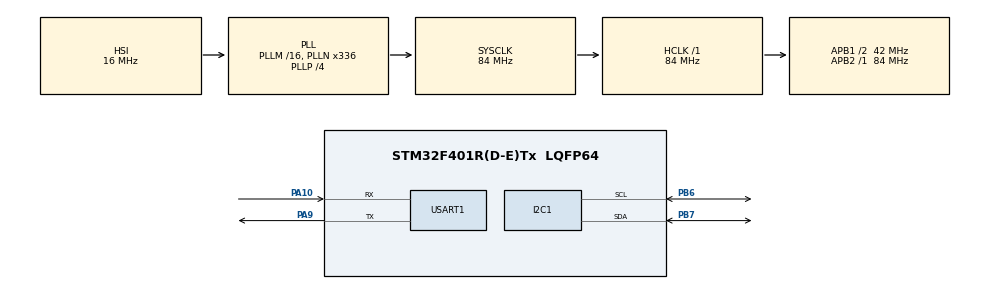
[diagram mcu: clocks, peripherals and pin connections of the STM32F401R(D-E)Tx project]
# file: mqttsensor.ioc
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Mcu.Family=STM32F4
Mcu.Name=STM32F401R(D-E)Tx
Mcu.Package=LQFP64
NVIC.PriorityGroup=NVIC_PRIORITYGROUP_4
NVIC.USART1_IRQn=true\:0\:0\:false\:false\:true\:true\:true\:true
PA10.Mode=Asynchronous
PA10.Signal=USART1_RX
PA13.Mode=Serial_Wire
PA13.Signal=SYS_JTMS-SWDIO
PA14.Mode=Serial_Wire
PA14.Signal=SYS_JTCK-SWCLK
PA9.Mode=Asynchronous
PA9.Signal=USART1_TX
PB6.Mode=I2C
PB6.Signal=I2C1_SCL
PB7.Mode=I2C
PB7.Signal=I2C1_SDA
PH0\ -\ OSC_IN.Mode=HSE-External-Clock-Source
PH0\ -\ OSC_IN.Signal=RCC_OSC_IN
PH1\ -\ OSC_OUT.Mode=HSE-External-Clock-Source
PH1\ -\ OSC_OUT.Signal=RCC_OSC_OUT
ProjectManager.HeapSize=0x200
ProjectManager.StackSize=0x400
ProjectManager.TargetToolchain=MDK-ARM V5.32
RCC.48MHZClocksFreq_Value=42000000
RCC.AHBFreq_Value=84000000
RCC.APB1CLKDivider=RCC_HCLK_DIV2
RCC.APB1Freq_Value=42000000
RCC.APB1TimFreq_Value=84000000
RCC.APB2Freq_Value=84000000
RCC.APB2TimFreq_Value=84000000
RCC.CortexFreq_Value=84000000
RCC.HCLKFreq_Value=84000000
RCC.HSE_VALUE=25000000
RCC.HSI_VALUE=16000000
RCC.LSE_VALUE=32768
RCC.PLLM=25
RCC.PLLN=168
RCC.PLLSourceVirtual=RCC_PLLSOURCE_HSE
RCC.SYSCLKFreq_VALUE=84000000
RCC.SYSCLKSource=RCC_SYSCLKSOURCE_PLLCLK
RCC.VCOOutputFreq_Value=168000000
USART1.VirtualMode=VM_ASYNC
board=custom

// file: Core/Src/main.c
/* USER CODE BEGIN Header */
/**
  ******************************************************************************
  * @file           : main.c
  * @brief          : Main program body
  ******************************************************************************
  * @attention
  *
  * Copyright (c) 2026 STMicroelectronics.
  * All rights reserved.
  *
  * This software is licensed under terms that can be found in the LICENSE file
  * in the root directory of this software component.
  * If no LICENSE file comes with this software, it is provided AS-IS.
  *
  ******************************************************************************
  */
/* USER CODE END Header */
#include "main.h"
#include "bme280.h"
#include <stdio.h>
#include <stdint.h>
#include "ESPLib.h"

I2C_HandleTypeDef hi2c1;

struct bme280_dev dev;
struct bme280_data comp_data;
struct bme280_settings settings;

/* Status */
int8_t rslt = BME280_OK;
volatile uint8_t sensor_ready = 0;
volatile uint8_t sensor_error = 0;

/* Measurements */
float temperature = 0.0f;  /* Celsius */
float pressure    = 0.0f;  /* hPa */
float humidity    = 0.0f;  /* % RH */

UART_HandleTypeDef huart1;

void SystemClock_Config(void);
static void MX_GPIO_Init(void);
static void MX_I2C1_Init(void);
static void MX_USART1_UART_Init(void);
int8_t user_i2c_read(uint8_t reg_addr,
                     uint8_t *reg_data,
                     uint32_t len,
                     void *intf_ptr);

int8_t user_i2c_write(uint8_t reg_addr,
                      const uint8_t *reg_data,
                      uint32_t len,
                      void *intf_ptr);

void user_delay_us(uint32_t period, void *intf_ptr);

int main(void)
{

  /* MCU Configuration--------------------------------------------------------*/

  /* Reset of all peripherals, Initializes the Flash interface and the Systick. */
  HAL_Init();

  /* USER CODE BEGIN Init */
  uint32_t previousTime = HAL_GetTick();
  /* USER CODE END Init */

  /* Configure the system clock */
  SystemClock_Config();

  /* Initialize all configured peripherals */
  MX_GPIO_Init();
  MX_I2C1_Init();
  MX_USART1_UART_Init();

	ESP8266_Init(StationMode, huart1);
			// 2. Connect to your local Wi-Fi network (Replace with your Router SSID and Password)
			ESP8266_wifiConnect("SNUC", "snu12345");
			// 3. Connect to your MQTT Broker (Replace with your Broker's IP Address)
			// 1883 is the standard unencrypted MQTT port
			ESP8266_portConnect("TCP", "broker.emqx.io", "1883");
			// 4. Configure the MQTT client connection parameters
			MQTT_InitTypeDef_t mqttSetting;
			mqttSetting.keepAlive = 60;
			mqttSetting.connectFlag = CleanSession;
			mqttSetting.clientID = "STM32_Publisher";
			// 5. Handshake with the MQTT broker
			MQTT_connectBroker(&mqttSetting);

	 static uint8_t dev_addr = BME280_I2C_ADDR_PRIM;

    /* Configure Bosch SensorAPI */
    dev.intf_ptr = &dev_addr;
    dev.intf = BME280_I2C_INTF;
    dev.read = user_i2c_read;
    dev.write = user_i2c_write;
    dev.delay_us = user_delay_us;

    /* Initialize sensor and load calibration data */
    rslt = bme280_init(&dev);

    if (rslt != BME280_OK)
    {
        sensor_error = 1;
        Error_Handler();
    }

    /* Sensor configuration */
    settings.osr_t = BME280_OVERSAMPLING_1X;
    settings.osr_p = BME280_OVERSAMPLING_1X;
    settings.osr_h = BME280_OVERSAMPLING_1X;
    settings.filter = BME280_FILTER_COEFF_OFF;
    settings.standby_time = BME280_STANDBY_TIME_0_5_MS;

    rslt = bme280_set_sensor_settings(
        BME280_SEL_OSR_PRESS |
        BME280_SEL_OSR_TEMP  |
        BME280_SEL_OSR_HUM   |
        BME280_SEL_FILTER   |
        BME280_SEL_STANDBY,
        &settings,
        &dev
    );

    if (rslt != BME280_OK)
    {
        sensor_error = 2;
        Error_Handler();
    }

    /* Continuous measurement mode */
    rslt = bme280_set_sensor_mode(BME280_POWERMODE_NORMAL, &dev);

    if (rslt != BME280_OK)
    {
        sensor_error = 3;
        Error_Handler();
    }

    sensor_ready = 1;

    /* Allow the first measurement to complete */
    HAL_Delay(100);

  /* Infinite loop */
  /* USER CODE BEGIN WHILE */
  while (1)
  { rslt = bme280_get_sensor_data(
            BME280_ALL,
            &comp_data,
            &dev
        );

        if (rslt == BME280_OK)
        {
            /*
             * bme280_defs.h enables BME280_DOUBLE_ENABLE
             * by default in Bosch SensorAPI v3.5.1.
             *
             * Temperature: degrees Celsius
             * Pressure:    Pa -> hPa
             * Humidity:    % RH
             */
            temperature = (float)comp_data.temperature;
            pressure = (float)(comp_data.pressure / 100.0);
            humidity = (float)comp_data.humidity;

            sensor_error = 0;
        }
        else
        {
            sensor_error = 4;
        }

        HAL_Delay(1000);
				char mqttMessage[150];
				snprintf(mqttMessage, sizeof(mqttMessage),
         "Temperature: %.2f C, Pressure: %.2f hPa, Humidity: %.2f %%",
         temperature, pressure, humidity);

    /* USER CODE END WHILE */
	if (HAL_GetTick() - previousTime >= 1000)
    {
        previousTime = HAL_GetTick();

        MQTT_publishTopic("stm32/test/data", mqttMessage, QoS0);
    }
  }
}

int8_t user_i2c_read(uint8_t reg_addr,
                     uint8_t *reg_data,
                     uint32_t len,
                     void *intf_ptr)
{
    uint8_t addr = *(uint8_t *)intf_ptr;

    HAL_StatusTypeDef status = HAL_I2C_Mem_Read(
        &hi2c1,
        (uint16_t)(addr << 1),
        reg_addr,
        I2C_MEMADD_SIZE_8BIT,
        reg_data,
        (uint16_t)len,
        1000
    );

    return (status == HAL_OK) ? BME280_OK : BME280_E_COMM_FAIL;
}

/* BME280 register write callback */
int8_t user_i2c_write(uint8_t reg_addr,
                      const uint8_t *reg_data,
                      uint32_t len,
                      void *intf_ptr)
{
    uint8_t addr = *(uint8_t *)intf_ptr;

    HAL_StatusTypeDef status = HAL_I2C_Mem_Write(
        &hi2c1,
        (uint16_t)(addr << 1),
        reg_addr,
        I2C_MEMADD_SIZE_8BIT,
        (uint8_t *)reg_data,
        (uint16_t)len,
        1000
    );

    return (status == HAL_OK) ? BME280_OK : BME280_E_COMM_FAIL;
}

/* Bosch API delay callback */
void user_delay_us(uint32_t period, void *intf_ptr)
{
    (void)intf_ptr;

    if (period > 0U)
    {
        HAL_Delay((period + 999U) / 1000U);
    }
}

void SystemClock_Config(void)
{
    RCC_OscInitTypeDef RCC_OscInitStruct = {0};
    RCC_ClkInitTypeDef RCC_ClkInitStruct = {0};

    /* Enable Power Control clock */
    __HAL_RCC_PWR_CLK_ENABLE();

    /* Configure voltage scaling */
    __HAL_PWR_VOLTAGESCALING_CONFIG(PWR_REGULATOR_VOLTAGE_SCALE2);

    /* Configure HSI and PLL */
    RCC_OscInitStruct.OscillatorType = RCC_OSCILLATORTYPE_HSI;
    RCC_OscInitStruct.HSIState = RCC_HSI_ON;
    RCC_OscInitStruct.HSICalibrationValue = RCC_HSICALIBRATION_DEFAULT;

    RCC_OscInitStruct.PLL.PLLState = RCC_PLL_ON;
    RCC_OscInitStruct.PLL.PLLSource = RCC_PLLSOURCE_HSI;

    RCC_OscInitStruct.PLL.PLLM = 16;
    RCC_OscInitStruct.PLL.PLLN = 336;
    RCC_OscInitStruct.PLL.PLLP = RCC_PLLP_DIV4;
    RCC_OscInitStruct.PLL.PLLQ = 7;

    if (HAL_RCC_OscConfig(&RCC_OscInitStruct) != HAL_OK)
    {
        Error_Handler();
    }

    /* Configure CPU, AHB and APB clocks */
    RCC_ClkInitStruct.ClockType = RCC_CLOCKTYPE_HCLK |
                                  RCC_CLOCKTYPE_SYSCLK |
                                  RCC_CLOCKTYPE_PCLK1 |
                                  RCC_CLOCKTYPE_PCLK2;

    RCC_ClkInitStruct.SYSCLKSource = RCC_SYSCLKSOURCE_PLLCLK;
    RCC_ClkInitStruct.AHBCLKDivider = RCC_SYSCLK_DIV1;
    RCC_ClkInitStruct.APB1CLKDivider = RCC_HCLK_DIV2;
    RCC_ClkInitStruct.APB2CLKDivider = RCC_HCLK_DIV1;

    if (HAL_RCC_ClockConfig(&RCC_ClkInitStruct, FLASH_LATENCY_2) != HAL_OK)
    {
        Error_Handler();
    }
}

  /** Initializes the CPU, AHB and APB buses clocks
  */

static void MX_I2C1_Init(void)
{

  hi2c1.Instance = I2C1;
  hi2c1.Init.ClockSpeed = 100000;
  hi2c1.Init.DutyCycle = I2C_DUTYCYCLE_2;
  hi2c1.Init.OwnAddress1 = 0;
  hi2c1.Init.AddressingMode = I2C_ADDRESSINGMODE_7BIT;
  hi2c1.Init.DualAddressMode = I2C_DUALADDRESS_DISABLE;
  hi2c1.Init.OwnAddress2 = 0;
  hi2c1.Init.GeneralCallMode = I2C_GENERALCALL_DISABLE;
  hi2c1.Init.NoStretchMode = I2C_NOSTRETCH_DISABLE;
  if (HAL_I2C_Init(&hi2c1) != HAL_OK)
  {
    Error_Handler();
  }

}

static void MX_USART1_UART_Init(void)
{

  huart1.Instance = USART1;
  huart1.Init.BaudRate = 115200;
  huart1.Init.WordLength = UART_WORDLENGTH_8B;
  huart1.Init.StopBits = UART_STOPBITS_1;
  huart1.Init.Parity = UART_PARITY_NONE;
  huart1.Init.Mode = UART_MODE_TX_RX;
  huart1.Init.HwFlowCtl = UART_HWCONTROL_NONE;
  huart1.Init.OverSampling = UART_OVERSAMPLING_16;
  if (HAL_UART_Init(&huart1) != HAL_OK)
  {
    Error_Handler();
  }

}

static void MX_GPIO_Init(void)
{

  /* GPIO Ports Clock Enable */
  __HAL_RCC_GPIOH_CLK_ENABLE();
  __HAL_RCC_GPIOA_CLK_ENABLE();
  __HAL_RCC_GPIOB_CLK_ENABLE();

}

void Error_Handler(void)
{
  __disable_irq();
  while (1)
  {
  }
}
